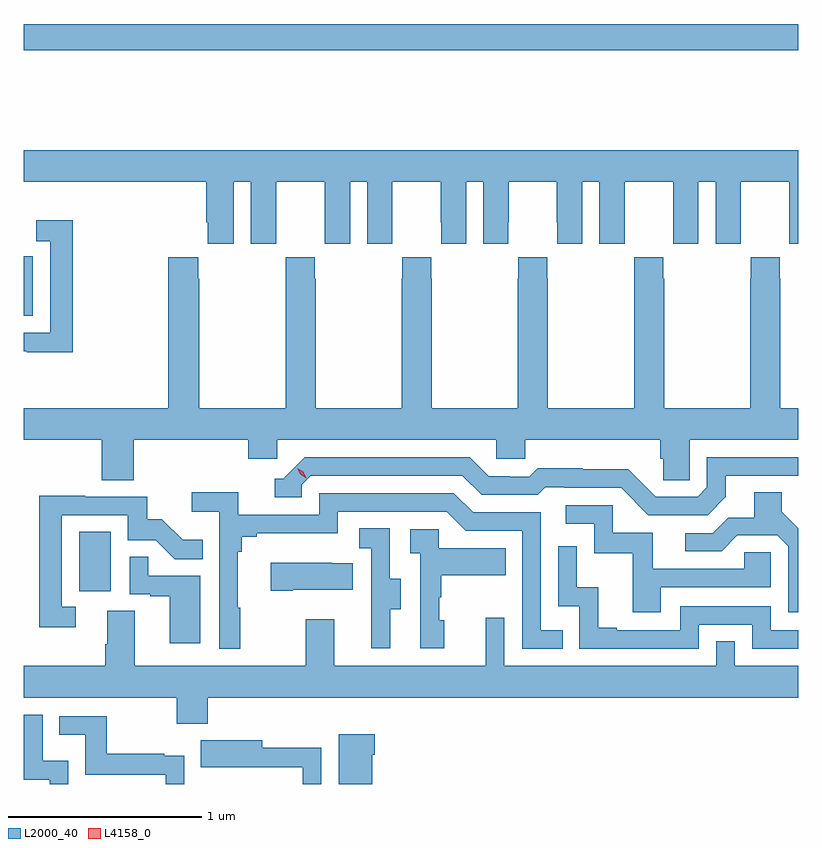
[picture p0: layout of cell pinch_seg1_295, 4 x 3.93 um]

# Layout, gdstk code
import gdstk
lib = gdstk.Library(unit=1e-6, precision=1e-09)
def R(c, l, rs):  # rectangles x0, y0, x1, y1
    for r in rs: c.add(gdstk.rectangle(r[:2], r[2:], *l))
def P(c, l, *ps):  # polygons
    for p in ps: c.add(gdstk.Polygon(p, *l))
L2000_40 = (2000, 40)
L4158_0 = (4158, 0)

pinch_seg1_295 = lib.new_cell('pinch_seg1_295')
R(pinch_seg1_295, L2000_40, [(946.538,561.606,946.702,561.913), (946.253,563.028,946.3,563.335), (946.253,564.4,950.253,564.536)])
P(pinch_seg1_295, L2000_40, [(946.253,563.72),(947.195,563.72),(947.195,563.512),(947.204,563.512),(947.204,563.4),(947.338,563.4),(947.338,563.72),(947.426,563.72),(947.426,563.4),(947.556,563.4),(947.556,563.512),(947.557,563.512),(947.557,563.72),(947.807,563.72),(947.807,563.512),(947.808,563.512),(947.808,563.4),(947.938,563.4),(947.938,563.72),(948.026,563.72),(948.026,563.4),(948.156,563.4),(948.156,563.512),(948.157,563.512),(948.157,563.72),(948.407,563.72),(948.407,563.512),(948.408,563.512),(948.408,563.4),(948.538,563.4),(948.538,563.72),(948.626,563.72),(948.626,563.4),(948.756,563.4),(948.756,563.512),(948.757,563.512),(948.757,563.72),(949.007,563.72),(949.007,563.512),(949.008,563.512),(949.008,563.4),(949.138,563.4),(949.138,563.72),(949.226,563.72),(949.226,563.4),(949.356,563.4),(949.356,563.512),(949.357,563.512),(949.357,563.72),(949.607,563.72),(949.607,563.512),(949.608,563.512),(949.608,563.4),(949.738,563.4),(949.738,563.72),(949.826,563.72),(949.826,563.4),(949.956,563.4),(949.956,563.512),(949.957,563.512),(949.957,563.72),(950.207,563.72),(950.207,563.512),(950.208,563.512),(950.208,563.4),(950.253,563.4),(950.253,563.884),(946.253,563.884)],
  [(946.505,563.521),(946.317,563.521),(946.317,563.415),(946.389,563.415),(946.389,562.941),(946.253,562.941),(946.253,562.845),(946.267,562.845),(946.267,562.84),(946.505,562.84)],
  [(949.541,562.29),(949.555,562.29),(949.555,562.18),(949.692,562.18),(949.692,562.388),(950.253,562.388),(950.253,562.552),(950.16,562.552),(950.16,563.219),(950.157,563.219),(950.157,563.332),(950.007,563.332),(950.007,563.219),(950.005,563.219),(950.005,562.552),(949.56,562.552),(949.56,563.219),(949.557,563.219),(949.557,563.332),(949.407,563.332),(949.407,563.219),(949.405,563.219),(949.405,562.552),(948.96,562.552),(948.96,563.219),(948.957,563.219),(948.957,563.332),(948.807,563.332),(948.807,563.219),(948.805,563.219),(948.805,562.552),(948.36,562.552),(948.36,563.219),(948.357,563.219),(948.357,563.332),(948.207,563.332),(948.207,563.219),(948.205,563.219),(948.205,562.552),(947.76,562.552),(947.76,563.219),(947.757,563.219),(947.757,563.332),(947.607,563.332),(947.607,563.219),(947.605,563.219),(947.605,562.552),(947.16,562.552),(947.16,563.219),(947.153,563.219),(947.153,563.332),(947,563.332),(947,562.552),(946.253,562.552),(946.253,562.388),(946.655,562.388),(946.655,562.18),(946.82,562.18),(946.82,562.388),(947.411,562.388),(947.411,562.29),(947.562,562.29),(947.562,562.388),(948.693,562.388),(948.693,562.29),(948.843,562.29),(948.843,562.388),(949.541,562.388)],
  [(949.879,562.093),(949.879,562.203),(950.253,562.203),(950.253,562.299),(949.782,562.299),(949.782,562.143),(949.734,562.095),(949.518,562.095),(949.376,562.237),(949.14,562.237),(949.14,562.24),(948.907,562.24),(948.865,562.197),(948.762,562.197),(948.762,562.2),(948.655,562.2),(948.556,562.299),(947.703,562.299),(947.592,562.188),(947.549,562.188),(947.549,562.092),(947.688,562.092),(947.688,562.155),(947.736,562.203),(948.519,562.203),(948.618,562.104),(948.907,562.104),(948.946,562.143),(949.045,562.143),(949.045,562.14),(949.338,562.14),(949.479,561.999),(949.785,561.999)],
  [(950.253,561.93),(950.167,562.016),(950.167,562.118),(950.027,562.118),(950.027,561.986),(949.892,561.986),(949.812,561.906),(949.671,561.906),(949.671,561.813),(949.858,561.813),(949.939,561.894),(950.145,561.894),(950.202,561.837),(950.202,561.498),(950.253,561.498)],
  [(947.371,561.521),(947.359,561.521),(947.359,561.809),(947.378,561.809),(947.378,561.886),(947.455,561.886),(947.455,561.905),(947.874,561.905),(947.874,562.017),(948.438,562.017),(948.537,561.918),(948.828,561.918),(948.828,561.309),(949.037,561.309),(949.037,561.405),(948.924,561.405),(948.924,562.014),(948.574,562.014),(948.475,562.113),(947.778,562.113),(947.778,562.002),(947.36,562.002),(947.36,562.118),(947.121,562.118),(947.121,562.016),(947.262,562.016),(947.262,561.309),(947.371,561.309)],
  [(946.522,561.525),(946.449,561.525),(946.449,561.999),(946.791,561.999),(946.791,561.87),(946.935,561.87),(947.033,561.772),(947.177,561.772),(947.177,561.871),(947.073,561.871),(946.966,561.978),(946.89,561.978),(946.89,562.095),(946.571,562.095),(946.571,562.1),(946.333,562.1),(946.333,561.42),(946.522,561.42)],
  [(949.543,561.627),(950.112,561.627),(950.112,561.807),(949.975,561.807),(949.975,561.723),(949.501,561.723),(949.501,561.909),(949.296,561.909),(949.296,562.05),(949.053,562.05),(949.053,561.954),(949.2,561.954),(949.2,561.801),(949.399,561.801),(949.399,561.498),(949.543,561.498)],
  [(948.145,561.514),(948.199,561.514),(948.199,561.669),(948.144,561.669),(948.144,561.932),(947.985,561.932),(947.985,561.829),(948.048,561.829),(948.048,561.525),(948.047,561.525),(948.047,561.312),(948.145,561.312)],
  [(948.424,561.456),(948.399,561.456),(948.399,561.575),(948.409,561.575),(948.409,561.689),(948.743,561.689),(948.743,561.829),(948.396,561.829),(948.396,561.927),(948.249,561.927),(948.249,561.803),(948.3,561.803),(948.3,561.312),(948.424,561.312)],
  [(949.74,561.432),(950.016,561.432),(950.016,561.309),(950.253,561.309),(950.253,561.405),(950.112,561.405),(950.112,561.528),(949.644,561.528),(949.644,561.405),(949.315,561.405),(949.315,561.418),(949.22,561.418),(949.22,561.626),(949.11,561.626),(949.11,561.838),(949.014,561.838),(949.014,561.528),(949.122,561.528),(949.122,561.309),(949.74,561.309)],
  [(947.164,561.687),(946.895,561.687),(946.895,561.785),(946.8,561.785),(946.8,561.591),(946.907,561.591),(946.907,561.579),(947.006,561.579),(947.006,561.336),(947.164,561.336)],
  [(947.641,561.614),(947.951,561.614),(947.951,561.751),(947.843,561.751),(947.843,561.754),(947.529,561.754),(947.529,561.607),(947.641,561.607)],
  [(947.204,561.056),(950.253,561.056),(950.253,561.22),(949.926,561.22),(949.926,561.347),(949.83,561.347),(949.83,561.22),(948.735,561.22),(948.735,561.469),(948.638,561.469),(948.638,561.22),(947.857,561.22),(947.857,561.46),(947.71,561.46),(947.71,561.22),(946.825,561.22),(946.825,561.506),(946.685,561.506),(946.685,561.332),(946.673,561.332),(946.673,561.22),(946.253,561.22),(946.253,561.056),(947.044,561.056),(947.044,560.921),(947.204,560.921)],
  [(946.482,560.731),(946.35,560.731),(946.35,560.967),(946.253,560.967),(946.253,560.633),(946.386,560.633),(946.386,560.61),(946.482,560.61)],
  [(947.082,560.755),(946.979,560.755),(946.979,560.767),(946.681,560.767),(946.681,560.961),(946.435,560.961),(946.435,560.864),(946.57,560.864),(946.57,560.658),(946.986,560.658),(946.986,560.61),(947.082,560.61)],
  [(948.052,560.762),(948.065,560.762),(948.065,560.866),(947.879,560.866),(947.879,560.61),(948.052,560.61)],
  [(947.79,560.798),(947.485,560.798),(947.485,560.836),(947.167,560.836),(947.167,560.696),(947.381,560.696),(947.381,560.697),(947.694,560.697),(947.694,560.61),(947.79,560.61)])
P(pinch_seg1_295, L4158_0, [(947.711,562.189),(947.681,562.209),(947.666,562.241),(947.666,562.242),(947.666,562.242),(947.696,562.222),(947.711,562.189),(947.711,562.189)])

lib.write_gds('pinch_seg1_295.gds')
